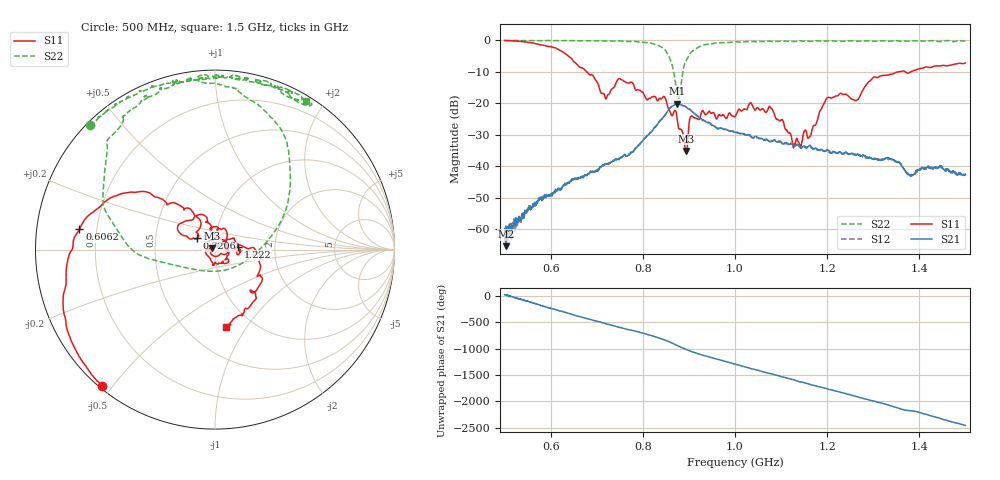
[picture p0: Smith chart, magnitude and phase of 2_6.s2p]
!Agilent Technologies,E8364B,US42250235,A.06.04.32
!Agilent E8364B: A.06.04.32
!Date: Friday, January 15, 2021 16:19:05
!Correction: S11(Full 2 Port(1,2)) S21(Full 2 Port(1,2)) S12(Full 2 Port(1,2)) S22(Full 2 Port(1,2))
!S2P File: Measurements: S11, S21, S12, S22:
# Hz S  dB  R 50
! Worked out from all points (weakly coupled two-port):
!   1601 points, 500 MHz to 1.5 GHz, reference 50 ohm
!   highest |S21| = -20.11 dB at 875 MHz (marker M1); lowest = -65.3 dB at 503.1 MHz (marker M2)
!   lowest |S11| = -35.1 dB at 893.8 MHz (marker M3), VSWR 1.04, Z = 48.5 + j0.775 ohm
!   |S11| at or under -10 dB: 678 MHz to 1.357 GHz (679.3 MHz wide, 66.7 % of centre); 1.369 GHz to 1.383 GHz (13.68 MHz wide, 0.994 % of centre)
!   |S22| runs from -18.4 to -0.1 dB; largest |S21 - S12| = 0.0054
!   S11 on the Smith chart (normalised r, x): 500 MHz: 0.01, -0.47; 606.2 MHz: 0.13, +0.07; 720.6 MHz: 0.81, +0.10; 1.222 GHz: 1.30, +0.04; 1.5 GHz: 0.76, -0.80
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5e8  -0.13 -129.5  -63.17 20.1  -61.88 20.1  -0.16 135.1
5.03125e8  -0.15 -130.8  -65.29 21.6  -60.41 15.7  -0.16 134.8
6.0625e8  -2.34 171.4  -48.38 109.7  -48.33 108.2  -0.19 123.6
6.66875e8  -8.75 136.5  -43.46 -44.2  -43.51 -45.9  -0.21 115.0
7.20625e8  -18.58 147.6  -39.17 -172.1  -39.23 -174.7  -0.31 109.3
7.50625e8  -12.28 143.6  -37.43 119.8  -37.41 117.6  -0.27 104.0
8.3375e8  -19.00 84.5  -26.21 -74.9  -26.24 -77.6  -1.74 69.6
8.58125e8  -22.34 34.7  -21.69 -154.3  -21.78 -156.8  -5.70 37.1
8.75e8  -25.67 -29.7  -20.11 136.2  -20.12 134.3  -17.13 -47.8
8.9375e8  -35.13 152.8  -21.23 64.2  -21.20 62.3  -6.56 179.2
9.0625e8  -24.04 146.7  -22.58 22.0  -22.63 19.5  -3.66 159.7
9.3125e8  -22.59 69.1  -25.32 -47.4  -25.52 -49.0  -1.59 136.1
1e9  -24.19 1.3  -29.20 145.6  -29.09 142.8  -0.55 113.9
1.076875e9  -21.35 -97.9  -32.20 -33.8  -31.86 -36.2  -0.36 103.3
1.128125e9  -33.81 147.9  -33.49 -155.0  -33.13 -157.2  -0.44 94.8
1.166875e9  -28.60 70.3  -34.13 108.2  -34.23 113.6  -0.38 89.4
1.1975e9  -18.76 32.8  -35.05 45.1  -35.23 44.9  -0.33 88.2
1.2225e9  -17.62 6.4  -35.73 -12.0  -35.75 -10.8  -0.32 85.7
1.26375e9  -19.07 1.3  -36.23 -108.4  -36.26 -106.5  -0.39 82.4
1.33375e9  -10.99 -31.2  -37.47 87.5  -37.79 90.9  -0.37 74.5
1.381875e9  -10.06 -48.0  -43.10 -18.8  -43.10 -15.8  -0.26 68.6
1.5e9  -7.27 -81.9  -42.45 64.2  -42.95 67.5  -0.25 58.4
